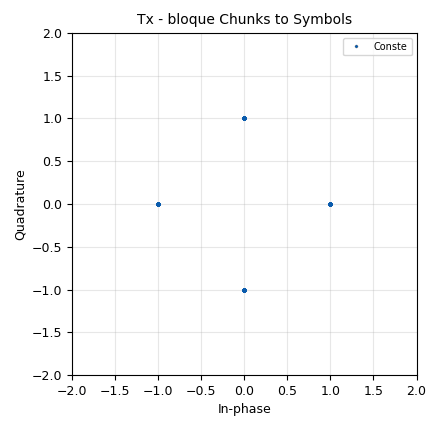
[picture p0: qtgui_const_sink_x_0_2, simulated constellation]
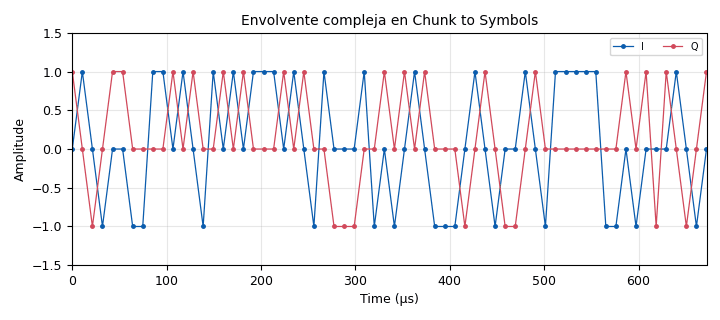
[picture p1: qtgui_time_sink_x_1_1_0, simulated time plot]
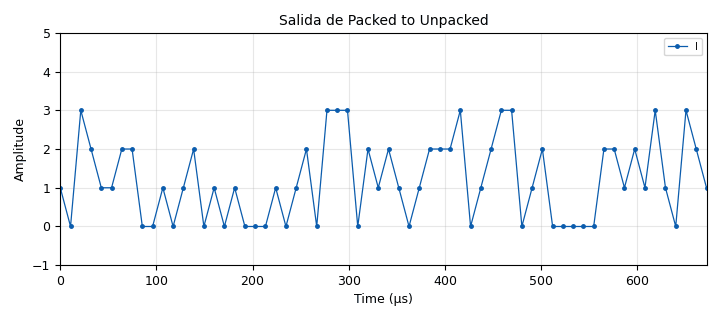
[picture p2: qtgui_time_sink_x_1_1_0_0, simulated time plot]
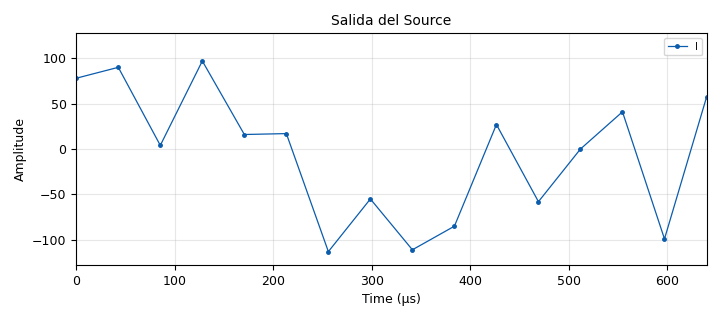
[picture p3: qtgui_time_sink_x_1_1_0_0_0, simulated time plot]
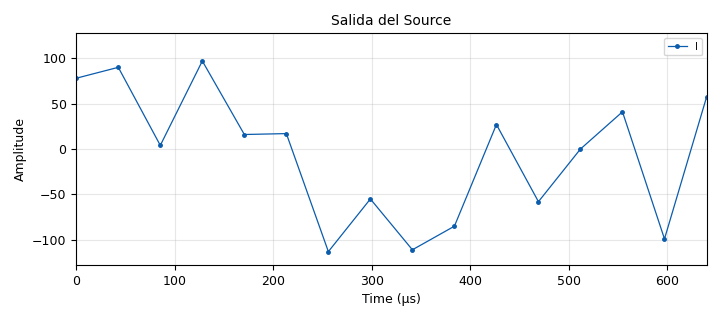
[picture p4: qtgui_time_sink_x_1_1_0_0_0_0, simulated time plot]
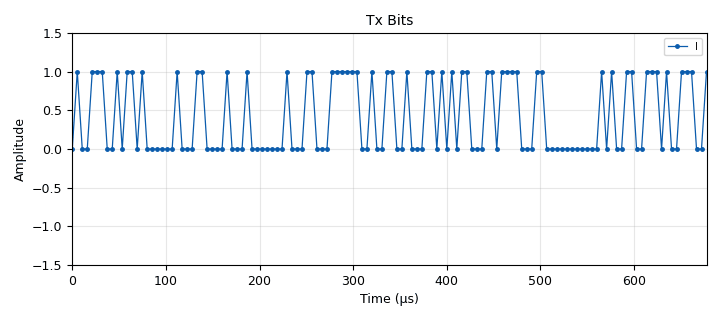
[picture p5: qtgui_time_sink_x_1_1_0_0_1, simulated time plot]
<?xml version='1.0' encoding='utf-8'?>
<?grc format='1' created='3.7.8'?>
<flow_graph>
<block>
<key>options</key>
<param><key>id</key><value>MPSK</value></param>
<param><key>category</key><value>Custom</value></param>
<param><key>generate_options</key><value>qt_gui</value></param>
<param><key>run</key><value>run_stop</value></param>
</block>
<block>
<key>variable</key>
<param><key>id</key><value>Constelacion</value></param>
<param><key>value</key><value>[1.+0.j,   0.+1.j,   -1.+0.j,  0.-1.j ]</value></param>
</block>
<block>
<key>variable_qtgui_range</key>
<param><key>id</key><value>DelayDiez</value></param>
<param><key>value</key><value>int(Sps/2)</value></param>
<param><key>gui_hint</key><value>1,4,1,1</value></param>
<param><key>label</key><value>Offsett muest.</value></param>
<param><key>orient</key><value>Qt.Horizontal</value></param>
<param><key>start</key><value>0</value></param>
<param><key>step</key><value>1</value></param>
<param><key>stop</key><value>Sps-1</value></param>
<param><key>rangeType</key><value>int</value></param>
</block>
<block>
<key>variable_qtgui_range</key>
<param><key>id</key><value>DelayOjo</value></param>
<param><key>value</key><value>0</value></param>
<param><key>gui_hint</key><value>pestana@2:2,0,1,1</value></param>
<param><key>label</key><value>varie aqui el retrazo de la senal para centrar el ojo</value></param>
<param><key>orient</key><value>Qt.Horizontal</value></param>
<param><key>start</key><value>0</value></param>
<param><key>step</key><value>1</value></param>
<param><key>stop</key><value>Sps</value></param>
<param><key>rangeType</key><value>int</value></param>
</block>
<block>
<key>variable_qtgui_range</key>
<param><key>id</key><value>Foffset</value></param>
<param><key>value</key><value>0</value></param>
<param><key>gui_hint</key><value>1,1,1,1</value></param>
<param><key>label</key><value>Offset frec.</value></param>
<param><key>orient</key><value>Qt.Horizontal</value></param>
<param><key>start</key><value>0</value></param>
<param><key>step</key><value>0.01</value></param>
<param><key>stop</key><value>5</value></param>
</block>
<block>
<key>variable</key>
<param><key>id</key><value>Fs_rs</value></param>
<param><key>value</key><value>Rs/Np</value></param>
</block>
<block>
<key>variable_qtgui_range</key>
<param><key>id</key><value>Kruido</value></param>
<param><key>value</key><value>0.</value></param>
<param><key>gui_hint</key><value>1,3,1,1</value></param>
<param><key>label</key><value>Nivel del Ruido</value></param>
<param><key>orient</key><value>Qt.Horizontal</value></param>
<param><key>start</key><value>0</value></param>
<param><key>step</key><value>0.001</value></param>
<param><key>stop</key><value>1</value></param>
</block>
<block>
<key>variable</key>
<param><key>id</key><value>M</value></param>
<param><key>value</key><value>len(Constelacion)</value></param>
</block>
<block>
<key>variable</key>
<param><key>id</key><value>Nbsym</value></param>
<param><key>value</key><value>int(math.log(M,2))</value></param>
</block>
<block>
<key>variable_qtgui_range</key>
<param><key>id</key><value>Ndelay</value></param>
<param><key>value</key><value>0</value></param>
<param><key>gui_hint</key><value>2,0,1,1</value></param>
<param><key>label</key><value>Retardo RRC</value></param>
<param><key>orient</key><value>Qt.Horizontal</value></param>
<param><key>start</key><value>0</value></param>
<param><key>step</key><value>1</value></param>
<param><key>stop</key><value>ntaps*2</value></param>
<param><key>rangeType</key><value>int</value></param>
</block>
<block>
<key>variable</key>
<param><key>id</key><value>Np</value></param>
<param><key>value</key><value>8/Nbsym</value></param>
</block>
<block>
<key>variable_qtgui_range</key>
<param><key>id</key><value>Phioffset</value></param>
<param><key>value</key><value>0</value></param>
<param><key>gui_hint</key><value>1,2,1,1</value></param>
<param><key>label</key><value>Offset ang.</value></param>
<param><key>orient</key><value>Qt.Horizontal</value></param>
<param><key>start</key><value>-3.1415</value></param>
<param><key>step</key><value>0.1</value></param>
<param><key>stop</key><value>3.1415</value></param>
</block>
<block>
<key>variable</key>
<param><key>id</key><value>Rb</value></param>
<param><key>value</key><value>Rs*Nbsym</value></param>
</block>
<block>
<key>variable</key>
<param><key>id</key><value>Rs</value></param>
<param><key>value</key><value>samp_rate/Sps</value></param>
</block>
<block>
<key>variable</key>
<param><key>id</key><value>Sps</value></param>
<param><key>value</key><value>8</value></param>
</block>
<block>
<key>variable</key>
<param><key>id</key><value>Tmax_scope</value></param>
<param><key>value</key><value>64./Rs</value></param>
</block>
<block>
<key>variable</key>
<param><key>id</key><value>ntaps</value></param>
<param><key>value</key><value>Sps*16</value></param>
</block>
<block>
<key>variable</key>
<param><key>id</key><value>rolloff</value></param>
<param><key>value</key><value>1.5</value></param>
</block>
<block>
<key>variable_qtgui_check_box</key>
<param><key>id</key><value>run_stop</value></param>
<param><key>value</key><value>True</value></param>
<param><key>false</key><value>False</value></param>
<param><key>gui_hint</key><value>1,0,1,1</value></param>
<param><key>label</key><value>Inicial/Parar</value></param>
<param><key>true</key><value>True</value></param>
<param><key>type</key><value>int</value></param>
</block>
<block>
<key>variable</key>
<param><key>id</key><value>samp_rate</value></param>
<param><key>value</key><value>250E3*3</value></param>
</block>
<block>
<key>E3TRadio_usrp2usrp1_cc</key>
<param><key>id</key><value>E3TRadio_usrp2usrp1_cc_0</value></param>
<param><key>Am</key><value>0.8</value></param>
<param><key>BW</key><value>samp_rate/(2*1.2)</value></param>
<param><key>Katt</key><value>10.</value></param>
<param><key>samp_rate</key><value>samp_rate</value></param>
<param><key>Vruido</key><value>Kruido</value></param>
<param><key>Phoffset</key><value>2*numpy.pi*random.random()</value></param>
<param><key>Foffset</key><value>0.04*random.random()</value></param>
<param><key>Toffset</key><value>int(Sps*random.random())</value></param>
</block>
<block>
<key>E3TRadio_zero_order_hold2_cc</key>
<param><key>id</key><value>E3TRadio_zero_order_hold2_cc_0</value></param>
<param><key>_enabled</key><value>0</value></param>
<param><key>k</key><value>Sps</value></param>
</block>
<block>
<key>analog_random_source_x</key>
<param><key>id</key><value>analog_random_source_x_0</value></param>
<param><key>max</key><value>256</value></param>
<param><key>min</key><value>0</value></param>
<param><key>num_samps</key><value>1000</value></param>
<param><key>type</key><value>byte</value></param>
<param><key>repeat</key><value>True</value></param>
</block>
<block>
<key>b_Eye_Diagram</key>
<param><key>id</key><value>b_Eye_Diagram_0</value></param>
<param><key>AlphaLineas</key><value>0.5</value></param>
<param><key>Delay</key><value>DelayOjo</value></param>
<param><key>gui_hint</key><value>pestana@2:1,0,1,2</value></param>
<param><key>GrosorLineas</key><value>20</value></param>
<param><key>N_eyes</key><value>2</value></param>
<param><key>Samprate</key><value>samp_rate</value></param>
<param><key>Sps</key><value>Sps</value></param>
<param><key>Title</key><value>"Eye Diagramm"</value></param>
<param><key>Ymax</key><value>1</value></param>
<param><key>Ymin</key><value>-1</value></param>
</block>
<block>
<key>b_RRaised_cosine_cc</key>
<param><key>id</key><value>b_RRaised_cosine_cc_0</value></param>
<param><key>Interpolation</key><value>Sps</value></param>
<param><key>ntaps</key><value>ntaps</value></param>
<param><key>rolloff</key><value>rolloff</value></param>
<param><key>sps</key><value>Sps</value></param>
</block>
<block>
<key>b_RRaised_cosine_cc</key>
<param><key>id</key><value>b_RRaised_cosine_cc_0_0</value></param>
<param><key>Interpolation</key><value>1</value></param>
<param><key>ntaps</key><value>ntaps</value></param>
<param><key>rolloff</key><value>rolloff</value></param>
<param><key>sps</key><value>Sps</value></param>
</block>
<block>
<key>b_Raised_cosine2_cc</key>
<param><key>id</key><value>b_Raised_cosine2_cc_0</value></param>
<param><key>_enabled</key><value>0</value></param>
<param><key>ntaps</key><value>ntaps</value></param>
<param><key>rolloff</key><value>rolloff</value></param>
<param><key>sps</key><value>Sps</value></param>
</block>
<block>
<key>b_Raised_cosine</key>
<param><key>id</key><value>b_Raised_cosine_0</value></param>
<param><key>_enabled</key><value>0</value></param>
<param><key>ntaps</key><value>ntaps</value></param>
<param><key>rolloff</key><value>rolloff</value></param>
<param><key>samp_rate</key><value>samp_rate</value></param>
<param><key>sps</key><value>Sps</value></param>
</block>
<block>
<key>b_sampler_cc</key>
<param><key>id</key><value>b_sampler_cc_0</value></param>
<param><key>DelayDiez</key><value>DelayDiez</value></param>
<param><key>Sps</key><value>Sps</value></param>
</block>
<block>
<key>b_tunner</key>
<param><key>id</key><value>b_tunner_0</value></param>
<param><key>fdesv</key><value>-Foffset</value></param>
<param><key>NDelay</key><value>0</value></param>
<param><key>phi</key><value>Phioffset</value></param>
<param><key>samp_rate</key><value>samp_rate</value></param>
</block>
<block>
<key>blocks_char_to_float</key>
<param><key>id</key><value>blocks_char_to_float_0</value></param>
<param><key>scale</key><value>1</value></param>
</block>
<block>
<key>blocks_char_to_float</key>
<param><key>id</key><value>blocks_char_to_float_0_0</value></param>
<param><key>scale</key><value>1</value></param>
</block>
<block>
<key>blocks_char_to_float</key>
<param><key>id</key><value>blocks_char_to_float_0_0_0</value></param>
<param><key>scale</key><value>1</value></param>
</block>
<block>
<key>blocks_char_to_float</key>
<param><key>id</key><value>blocks_char_to_float_0_1</value></param>
<param><key>scale</key><value>1</value></param>
</block>
<block>
<key>blocks_complex_to_real</key>
<param><key>id</key><value>blocks_complex_to_real_0</value></param>
</block>
<block>
<key>blocks_delay</key>
<param><key>id</key><value>blocks_delay_0</value></param>
<param><key>delay</key><value>DelayOjo</value></param>
<param><key>type</key><value>float</value></param>
</block>
<block>
<key>blocks_packed_to_unpacked_xx</key>
<param><key>id</key><value>blocks_packed_to_unpacked_xx_0</value></param>
<param><key>bits_per_chunk</key><value>Nbsym</value></param>
<param><key>endianness</key><value>gr.GR_MSB_FIRST</value></param>
<param><key>type</key><value>byte</value></param>
</block>
<block>
<key>blocks_packed_to_unpacked_xx</key>
<param><key>id</key><value>blocks_packed_to_unpacked_xx_0_0</value></param>
<param><key>bits_per_chunk</key><value>1</value></param>
<param><key>endianness</key><value>gr.GR_MSB_FIRST</value></param>
<param><key>type</key><value>byte</value></param>
</block>
<block>
<key>blocks_throttle</key>
<param><key>id</key><value>blocks_throttle_0</value></param>
<param><key>samples_per_second</key><value>samp_rate</value></param>
<param><key>type</key><value>complex</value></param>
</block>
<block>
<key>blocks_vector_source_x</key>
<param><key>id</key><value>blocks_vector_source_x_0</value></param>
<param><key>_enabled</key><value>0</value></param>
<param><key>type</key><value>byte</value></param>
<param><key>repeat</key><value>True</value></param>
<param><key>vector</key><value>(162,244)</value></param>
</block>
<block>
<key>blocks_vector_source_x</key>
<param><key>id</key><value>blocks_vector_source_x_0_0</value></param>
<param><key>_enabled</key><value>0</value></param>
<param><key>type</key><value>byte</value></param>
<param><key>repeat</key><value>True</value></param>
<param><key>vector</key><value>(1,3,1,3)</value></param>
</block>
<block>
<key>blocks_vector_source_x</key>
<param><key>id</key><value>blocks_vector_source_x_0_1</value></param>
<param><key>_enabled</key><value>0</value></param>
<param><key>type</key><value>byte</value></param>
<param><key>repeat</key><value>True</value></param>
<param><key>vector</key><value>(2,2,0,2,3,3,1,0)</value></param>
</block>
<block>
<key>digital_chunks_to_symbols_xx</key>
<param><key>id</key><value>digital_chunks_to_symbols_xx_0</value></param>
<param><key>dimension</key><value>1</value></param>
<param><key>in_type</key><value>byte</value></param>
<param><key>out_type</key><value>complex</value></param>
<param><key>symbol_table</key><value>Constelacion</value></param>
</block>
<block>
<key>import</key>
<param><key>id</key><value>import_0</value></param>
<param><key>import</key><value>import math</value></param>
</block>
<block>
<key>import</key>
<param><key>id</key><value>import_0_0</value></param>
<param><key>import</key><value>import numpy</value></param>
</block>
<block>
<key>import</key>
<param><key>id</key><value>import_0_0_0</value></param>
<param><key>import</key><value>import random</value></param>
</block>
<block>
<key>qtgui_tab_widget</key>
<param><key>id</key><value>pestana</value></param>
<param><key>gui_hint</key><value>0,0,1,5</value></param>
<param><key>label0</key><value>Tx Envolvente compleja</value></param>
<param><key>label1</key><value>Tx Source vs Packeto to Unpacked</value></param>
<param><key>label2</key><value>RX Ojo versus senal en tiempo</value></param>
<param><key>label3</key><value>PSD</value></param>
<param><key>label4</key><value>Constelaciones</value></param>
<param><key>label5</key><value>Tx Source vs Bits</value></param>
<param><key>label6</key><value>pruebaa</value></param>
<param><key>num_tabs</key><value>7</value></param>
</block>
<block>
<key>qtgui_const_sink_x</key>
<param><key>id</key><value>qtgui_const_sink_x_0</value></param>
<param><key>gui_hint</key><value>pestana@4:0,1,1,1</value></param>
<param><key>label1</key><value>Conste</value></param>
<param><key>style1</key><value>1</value></param>
<param><key>name</key><value>"Tx - Filtro RC o Zehoh"</value></param>
<param><key>size</key><value>1024</value></param>
<param><key>type</key><value>complex</value></param>
<param><key>xmax</key><value>1.5</value></param>
<param><key>xmin</key><value>-1.5</value></param>
<param><key>ymax</key><value>1.5</value></param>
<param><key>ymin</key><value>-1.5</value></param>
</block>
<block>
<key>qtgui_const_sink_x</key>
<param><key>id</key><value>qtgui_const_sink_x_0_1</value></param>
<param><key>gui_hint</key><value>pestana@4:1,0,1,1</value></param>
<param><key>label1</key><value>Rx Tunner</value></param>
<param><key>marker1</key><value>-1</value></param>
<param><key>style1</key><value>1</value></param>
<param><key>label2</key><value>Rx Muestreador</value></param>
<param><key>name</key><value>"Rx - Tunner versus muestreador"</value></param>
<param><key>nconnections</key><value>2</value></param>
<param><key>size</key><value>4000</value></param>
<param><key>type</key><value>complex</value></param>
<param><key>xmax</key><value>.1</value></param>
<param><key>xmin</key><value>-.1</value></param>
<param><key>ymax</key><value>.1</value></param>
<param><key>ymin</key><value>-.1</value></param>
</block>
<block>
<key>qtgui_const_sink_x</key>
<param><key>id</key><value>qtgui_const_sink_x_0_1_0</value></param>
<param><key>gui_hint</key><value>pestana@4:1,1,1,1</value></param>
<param><key>color1</key><value>"red"</value></param>
<param><key>label1</key><value>Conste</value></param>
<param><key>name</key><value>"Rx - Muestreador"</value></param>
<param><key>size</key><value>1024</value></param>
<param><key>type</key><value>complex</value></param>
<param><key>xmax</key><value>.15</value></param>
<param><key>xmin</key><value>-.15</value></param>
<param><key>ymax</key><value>.15</value></param>
<param><key>ymin</key><value>-.15</value></param>
</block>
<block>
<key>qtgui_const_sink_x</key>
<param><key>id</key><value>qtgui_const_sink_x_0_2</value></param>
<param><key>gui_hint</key><value>pestana@4:0,0,1,1</value></param>
<param><key>label1</key><value>Conste</value></param>
<param><key>style1</key><value>1</value></param>
<param><key>name</key><value>"Tx - bloque Chunks to Symbols"</value></param>
<param><key>size</key><value>1024</value></param>
<param><key>type</key><value>complex</value></param>
</block>
<block>
<key>qtgui_freq_sink_x</key>
<param><key>id</key><value>qtgui_freq_sink_x_0</value></param>
<param><key>average</key><value>0.05</value></param>
<param><key>bw</key><value>samp_rate</value></param>
<param><key>fc</key><value>0</value></param>
<param><key>ctrlpanel</key><value>True</value></param>
<param><key>fftsize</key><value>1024</value></param>
<param><key>gui_hint</key><value>pestana@3:0,0,1,1</value></param>
<param><key>name</key><value>"Tx. PSD entrada de USRP Sink"</value></param>
<param><key>showports</key><value>True</value></param>
<param><key>type</key><value>complex</value></param>
<param><key>wintype</key><value>firdes.WIN_BLACKMAN_hARRIS</value></param>
</block>
<block>
<key>qtgui_freq_sink_x</key>
<param><key>id</key><value>qtgui_freq_sink_x_0_0</value></param>
<param><key>average</key><value>0.05</value></param>
<param><key>bw</key><value>samp_rate</value></param>
<param><key>fc</key><value>0</value></param>
<param><key>ctrlpanel</key><value>True</value></param>
<param><key>fftsize</key><value>1024</value></param>
<param><key>gui_hint</key><value>pestana@3:1,0,1,1</value></param>
<param><key>name</key><value>"Rx PSD en USRP Source"</value></param>
<param><key>showports</key><value>True</value></param>
<param><key>type</key><value>complex</value></param>
<param><key>wintype</key><value>firdes.WIN_BLACKMAN_hARRIS</value></param>
</block>
<block>
<key>qtgui_time_sink_x</key>
<param><key>id</key><value>qtgui_time_sink_x_1_0</value></param>
<param><key>ctrlpanel</key><value>True</value></param>
<param><key>gui_hint</key><value>pestana@2:0,0,1,2</value></param>
<param><key>color1</key><value>"blue"</value></param>
<param><key>label1</key><value>I</value></param>
<param><key>color2</key><value>"red"</value></param>
<param><key>label2</key><value>Q</value></param>
<param><key>name</key><value>"Rx Envolvente compleja en USRP Source"</value></param>
<param><key>size</key><value>Sps*64</value></param>
<param><key>srate</key><value>samp_rate</value></param>
<param><key>type</key><value>complex</value></param>
<param><key>ymax</key><value>0.1</value></param>
<param><key>ymin</key><value>-0.1</value></param>
</block>
<block>
<key>qtgui_time_sink_x</key>
<param><key>id</key><value>qtgui_time_sink_x_1_1</value></param>
<param><key>ctrlpanel</key><value>True</value></param>
<param><key>gui_hint</key><value>pestana@0:0,0,1,1</value></param>
<param><key>color1</key><value>"blue"</value></param>
<param><key>label1</key><value>I</value></param>
<param><key>color2</key><value>"red"</value></param>
<param><key>label2</key><value>Q</value></param>
<param><key>name</key><value>"Envolvente compleja filtrada"</value></param>
<param><key>size</key><value>int(Tmax_scope*Fs_rs*Np*Sps)</value></param>
<param><key>srate</key><value>samp_rate</value></param>
<param><key>type</key><value>complex</value></param>
</block>
<block>
<key>qtgui_time_sink_x</key>
<param><key>id</key><value>qtgui_time_sink_x_1_1_0</value></param>
<param><key>ctrlpanel</key><value>True</value></param>
<param><key>gui_hint</key><value>pestana@0:1,0,1,1</value></param>
<param><key>color1</key><value>"blue"</value></param>
<param><key>label1</key><value>I</value></param>
<param><key>marker1</key><value>0</value></param>
<param><key>color2</key><value>"red"</value></param>
<param><key>label2</key><value>Q</value></param>
<param><key>marker2</key><value>0</value></param>
<param><key>name</key><value>"Envolvente compleja en Chunk to Symbols"</value></param>
<param><key>size</key><value>int(Tmax_scope*Fs_rs*Np)</value></param>
<param><key>srate</key><value>Rs</value></param>
<param><key>type</key><value>complex</value></param>
<param><key>ymax</key><value>1.5</value></param>
<param><key>ymin</key><value>-1.5</value></param>
</block>
<block>
<key>qtgui_time_sink_x</key>
<param><key>id</key><value>qtgui_time_sink_x_1_1_0_0</value></param>
<param><key>ctrlpanel</key><value>True</value></param>
<param><key>gui_hint</key><value>pestana@1:0,0,1,1</value></param>
<param><key>color1</key><value>"blue"</value></param>
<param><key>label1</key><value>I</value></param>
<param><key>marker1</key><value>0</value></param>
<param><key>name</key><value>"Salida de Packed to Unpacked"</value></param>
<param><key>size</key><value>int(Tmax_scope*Fs_rs*Np)</value></param>
<param><key>srate</key><value>Rs</value></param>
<param><key>type</key><value>float</value></param>
<param><key>ymax</key><value>M+1</value></param>
</block>
<block>
<key>qtgui_time_sink_x</key>
<param><key>id</key><value>qtgui_time_sink_x_1_1_0_0_0</value></param>
<param><key>ctrlpanel</key><value>True</value></param>
<param><key>gui_hint</key><value>pestana@1:1,0,1,1</value></param>
<param><key>color1</key><value>"blue"</value></param>
<param><key>label1</key><value>I</value></param>
<param><key>marker1</key><value>0</value></param>
<param><key>name</key><value>"Salida del Source"</value></param>
<param><key>size</key><value>int(Tmax_scope*Fs_rs)</value></param>
<param><key>srate</key><value>Fs_rs</value></param>
<param><key>type</key><value>float</value></param>
<param><key>ymax</key><value>128</value></param>
<param><key>ymin</key><value>-128</value></param>
</block>
<block>
<key>qtgui_time_sink_x</key>
<param><key>id</key><value>qtgui_time_sink_x_1_1_0_0_0_0</value></param>
<param><key>ctrlpanel</key><value>True</value></param>
<param><key>gui_hint</key><value>pestana@5:1,0,1,1</value></param>
<param><key>color1</key><value>"blue"</value></param>
<param><key>label1</key><value>I</value></param>
<param><key>marker1</key><value>0</value></param>
<param><key>name</key><value>"Salida del Source"</value></param>
<param><key>size</key><value>int(Tmax_scope*Fs_rs)</value></param>
<param><key>srate</key><value>Fs_rs</value></param>
<param><key>type</key><value>float</value></param>
<param><key>ymax</key><value>128</value></param>
<param><key>ymin</key><value>-128</value></param>
</block>
<block>
<key>qtgui_time_sink_x</key>
<param><key>id</key><value>qtgui_time_sink_x_1_1_0_0_1</value></param>
<param><key>ctrlpanel</key><value>True</value></param>
<param><key>gui_hint</key><value>pestana@5:0,0,1,1</value></param>
<param><key>color1</key><value>"blue"</value></param>
<param><key>label1</key><value>I</value></param>
<param><key>marker1</key><value>0</value></param>
<param><key>name</key><value>"Tx Bits"</value></param>
<param><key>size</key><value>int(Tmax_scope*Fs_rs*8)</value></param>
<param><key>srate</key><value>Rb</value></param>
<param><key>type</key><value>float</value></param>
<param><key>ymax</key><value>1.5</value></param>
<param><key>ymin</key><value>-1.5</value></param>
</block>
<block>
<key>qtgui_time_sink_x</key>
<param><key>id</key><value>qtgui_time_sink_x_1_1_0_1</value></param>
<param><key>ctrlpanel</key><value>True</value></param>
<param><key>gui_hint</key><value>pestana@6:0,0,1,1</value></param>
<param><key>color1</key><value>"blue"</value></param>
<param><key>label1</key><value>RRC</value></param>
<param><key>marker1</key><value>0</value></param>
<param><key>color2</key><value>"red"</value></param>
<param><key>label2</key><value>Q</value></param>
<param><key>marker2</key><value>0</value></param>
<param><key>name</key><value>"Envolvente compleja en Chunk to Symbols"</value></param>
<param><key>size</key><value>int(Tmax_scope*Fs_rs*Np)</value></param>
<param><key>srate</key><value>Rs</value></param>
<param><key>type</key><value>complex</value></param>
<param><key>ymax</key><value>1.5</value></param>
<param><key>ymin</key><value>-1.5</value></param>
</block>
<connection><source_block_id>E3TRadio_usrp2usrp1_cc_0</source_block_id><sink_block_id>b_tunner_0</sink_block_id><source_key>0</source_key><sink_key>0</sink_key></connection>
<connection><source_block_id>E3TRadio_zero_order_hold2_cc_0</source_block_id><sink_block_id>blocks_throttle_0</sink_block_id><source_key>0</source_key><sink_key>0</sink_key></connection>
<connection><source_block_id>analog_random_source_x_0</source_block_id><sink_block_id>blocks_char_to_float_0_0</sink_block_id><source_key>0</source_key><sink_key>0</sink_key></connection>
<connection><source_block_id>analog_random_source_x_0</source_block_id><sink_block_id>blocks_char_to_float_0_1</sink_block_id><source_key>0</source_key><sink_key>0</sink_key></connection>
<connection><source_block_id>analog_random_source_x_0</source_block_id><sink_block_id>blocks_packed_to_unpacked_xx_0</sink_block_id><source_key>0</source_key><sink_key>0</sink_key></connection>
<connection><source_block_id>analog_random_source_x_0</source_block_id><sink_block_id>blocks_packed_to_unpacked_xx_0_0</sink_block_id><source_key>0</source_key><sink_key>0</sink_key></connection>
<connection><source_block_id>b_RRaised_cosine_cc_0</source_block_id><sink_block_id>b_RRaised_cosine_cc_0_0</sink_block_id><source_key>0</source_key><sink_key>0</sink_key></connection>
<connection><source_block_id>b_RRaised_cosine_cc_0_0</source_block_id><sink_block_id>qtgui_time_sink_x_1_1_0_1</sink_block_id><source_key>1</source_key><sink_key>0</sink_key></connection>
<connection><source_block_id>b_RRaised_cosine_cc_0_0</source_block_id><sink_block_id>blocks_throttle_0</sink_block_id><source_key>0</source_key><sink_key>0</sink_key></connection>
<connection><source_block_id>b_Raised_cosine2_cc_0</source_block_id><sink_block_id>blocks_throttle_0</sink_block_id><source_key>0</source_key><sink_key>0</sink_key></connection>
<connection><source_block_id>b_Raised_cosine2_cc_0</source_block_id><sink_block_id>qtgui_time_sink_x_1_1_0_1</sink_block_id><source_key>1</source_key><sink_key>0</sink_key></connection>
<connection><source_block_id>b_Raised_cosine_0</source_block_id><sink_block_id>blocks_throttle_0</sink_block_id><source_key>0</source_key><sink_key>0</sink_key></connection>
<connection><source_block_id>b_sampler_cc_0</source_block_id><sink_block_id>qtgui_const_sink_x_0_1</sink_block_id><source_key>0</source_key><sink_key>1</sink_key></connection>
<connection><source_block_id>b_sampler_cc_0</source_block_id><sink_block_id>qtgui_const_sink_x_0_1_0</sink_block_id><source_key>1</source_key><sink_key>0</sink_key></connection>
<connection><source_block_id>b_tunner_0</source_block_id><sink_block_id>b_sampler_cc_0</sink_block_id><source_key>0</source_key><sink_key>0</sink_key></connection>
<connection><source_block_id>b_tunner_0</source_block_id><sink_block_id>qtgui_const_sink_x_0_1</sink_block_id><source_key>0</source_key><sink_key>0</sink_key></connection>
<connection><source_block_id>b_tunner_0</source_block_id><sink_block_id>qtgui_freq_sink_x_0_0</sink_block_id><source_key>0</source_key><sink_key>0</sink_key></connection>
<connection><source_block_id>b_tunner_0</source_block_id><sink_block_id>qtgui_time_sink_x_1_0</sink_block_id><source_key>0</source_key><sink_key>0</sink_key></connection>
<connection><source_block_id>blocks_char_to_float_0</source_block_id><sink_block_id>qtgui_time_sink_x_1_1_0_0</sink_block_id><source_key>0</source_key><sink_key>0</sink_key></connection>
<connection><source_block_id>blocks_char_to_float_0_0</source_block_id><sink_block_id>qtgui_time_sink_x_1_1_0_0_0</sink_block_id><source_key>0</source_key><sink_key>0</sink_key></connection>
<connection><source_block_id>blocks_char_to_float_0_0_0</source_block_id><sink_block_id>qtgui_time_sink_x_1_1_0_0_1</sink_block_id><source_key>0</source_key><sink_key>0</sink_key></connection>
<connection><source_block_id>blocks_char_to_float_0_1</source_block_id><sink_block_id>qtgui_time_sink_x_1_1_0_0_0_0</sink_block_id><source_key>0</source_key><sink_key>0</sink_key></connection>
<connection><source_block_id>blocks_complex_to_real_0</source_block_id><sink_block_id>blocks_delay_0</sink_block_id><source_key>0</source_key><sink_key>0</sink_key></connection>
<connection><source_block_id>blocks_delay_0</source_block_id><sink_block_id>b_Eye_Diagram_0</sink_block_id><source_key>0</source_key><sink_key>0</sink_key></connection>
<connection><source_block_id>blocks_delay_0</source_block_id><sink_block_id>b_Eye_Diagram_0</sink_block_id><source_key>0</source_key><sink_key>1</sink_key></connection>
<connection><source_block_id>blocks_packed_to_unpacked_xx_0</source_block_id><sink_block_id>blocks_char_to_float_0</sink_block_id><source_key>0</source_key><sink_key>0</sink_key></connection>
<connection><source_block_id>blocks_packed_to_unpacked_xx_0</source_block_id><sink_block_id>digital_chunks_to_symbols_xx_0</sink_block_id><source_key>0</source_key><sink_key>0</sink_key></connection>
<connection><source_block_id>blocks_packed_to_unpacked_xx_0_0</source_block_id><sink_block_id>blocks_char_to_float_0_0_0</sink_block_id><source_key>0</source_key><sink_key>0</sink_key></connection>
<connection><source_block_id>blocks_throttle_0</source_block_id><sink_block_id>E3TRadio_usrp2usrp1_cc_0</sink_block_id><source_key>0</source_key><sink_key>0</sink_key></connection>
<connection><source_block_id>blocks_throttle_0</source_block_id><sink_block_id>blocks_complex_to_real_0</sink_block_id><source_key>0</source_key><sink_key>0</sink_key></connection>
<connection><source_block_id>blocks_throttle_0</source_block_id><sink_block_id>qtgui_const_sink_x_0</sink_block_id><source_key>0</source_key><sink_key>0</sink_key></connection>
<connection><source_block_id>blocks_throttle_0</source_block_id><sink_block_id>qtgui_freq_sink_x_0</sink_block_id><source_key>0</source_key><sink_key>0</sink_key></connection>
<connection><source_block_id>blocks_throttle_0</source_block_id><sink_block_id>qtgui_time_sink_x_1_1</sink_block_id><source_key>0</source_key><sink_key>0</sink_key></connection>
<connection><source_block_id>blocks_vector_source_x_0</source_block_id><sink_block_id>blocks_packed_to_unpacked_xx_0</sink_block_id><source_key>0</source_key><sink_key>0</sink_key></connection>
<connection><source_block_id>blocks_vector_source_x_0_0</source_block_id><sink_block_id>digital_chunks_to_symbols_xx_0</sink_block_id><source_key>0</source_key><sink_key>0</sink_key></connection>
<connection><source_block_id>blocks_vector_source_x_0_1</source_block_id><sink_block_id>digital_chunks_to_symbols_xx_0</sink_block_id><source_key>0</source_key><sink_key>0</sink_key></connection>
<connection><source_block_id>digital_chunks_to_symbols_xx_0</source_block_id><sink_block_id>E3TRadio_zero_order_hold2_cc_0</sink_block_id><source_key>0</source_key><sink_key>0</sink_key></connection>
<connection><source_block_id>digital_chunks_to_symbols_xx_0</source_block_id><sink_block_id>b_RRaised_cosine_cc_0</sink_block_id><source_key>0</source_key><sink_key>0</sink_key></connection>
<connection><source_block_id>digital_chunks_to_symbols_xx_0</source_block_id><sink_block_id>b_Raised_cosine2_cc_0</sink_block_id><source_key>0</source_key><sink_key>0</sink_key></connection>
<connection><source_block_id>digital_chunks_to_symbols_xx_0</source_block_id><sink_block_id>b_Raised_cosine_0</sink_block_id><source_key>0</source_key><sink_key>0</sink_key></connection>
<connection><source_block_id>digital_chunks_to_symbols_xx_0</source_block_id><sink_block_id>qtgui_const_sink_x_0_2</sink_block_id><source_key>0</source_key><sink_key>0</sink_key></connection>
<connection><source_block_id>digital_chunks_to_symbols_xx_0</source_block_id><sink_block_id>qtgui_time_sink_x_1_1_0</sink_block_id><source_key>0</source_key><sink_key>0</sink_key></connection>
</flow_graph>
